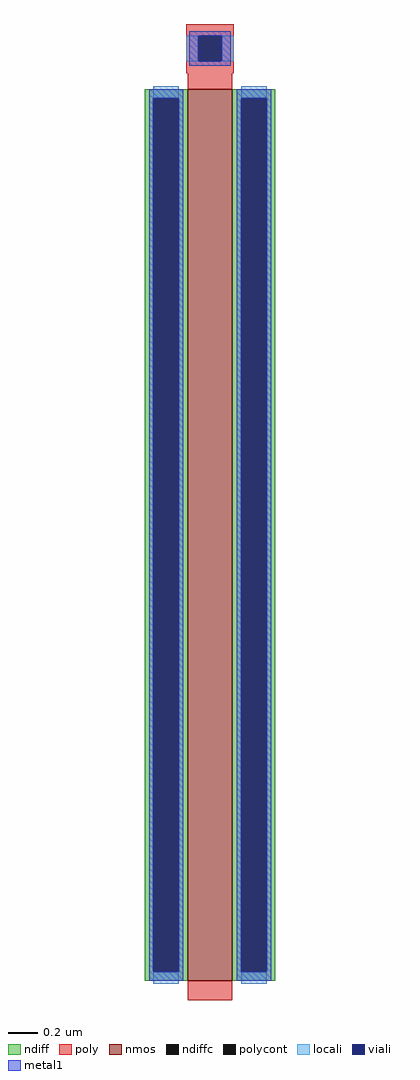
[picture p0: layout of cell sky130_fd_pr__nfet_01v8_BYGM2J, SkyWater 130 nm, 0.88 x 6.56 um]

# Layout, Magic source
magic
tech sky130A
<< nmos >>
rect -15 -315 15 284
<< ndiff >>
rect -44 278 -15 284
rect -44 -309 -38 278
rect -21 -309 -15 278
rect -44 -315 -15 -309
rect 15 278 44 284
rect 15 -309 21 278
rect 38 -309 44 278
rect 15 -315 44 -309
<< ndiffc >>
rect -38 -309 -21 278
rect 21 -309 38 278
<< poly >>
rect -16 320 16 328
rect -16 303 -8 320
rect 8 303 16 320
rect -16 295 16 303
rect -15 284 15 295
rect -15 -328 15 -315
<< polycont >>
rect -8 303 8 320
<< locali >>
rect -16 303 -8 320
rect 8 303 16 320
rect -38 278 -21 286
rect -38 -317 -21 -309
rect 21 278 38 286
rect 21 -317 38 -309
<< viali >>
rect -8 303 8 320
rect -38 -309 -21 278
rect 21 -309 38 278
<< metal1 >>
rect -14 320 14 323
rect -14 303 -8 320
rect 8 303 14 320
rect -14 300 14 303
rect -41 278 -18 284
rect -41 -309 -38 278
rect -21 -309 -18 278
rect -41 -315 -18 -309
rect 18 278 41 284
rect 18 -309 21 278
rect 38 -309 41 278
rect 18 -315 41 -309
<< properties >>
string gencell sky130_fd_pr__nfet_01v8
string library sky130
string parameters w 6.0 l 0.3 m 1 nf 1 diffcov 100 polycov 100 guard 0 glc 1 grc 1 gtc 1 gbc 1 tbcov 100 rlcov 100 topc 1 botc 0 poverlap 0 doverlap 1 lmin 0.15 wmin 0.42 compatible {sky130_fd_pr__nfet_01v8 sky130_fd_pr__nfet_01v8_lvt  sky130_fd_bs_flash__special_sonosfet_star  sky130_fd_pr__nfet_g5v0d10v5 sky130_fd_pr__nfet_05v0_nvt  sky130_fd_pr__nfet_03v3_nvt} full_metal 1 viasrc 100 viadrn 100 viagate 100 viagb 0 viagr 0 viagl 0 viagt 0
<< end >>
